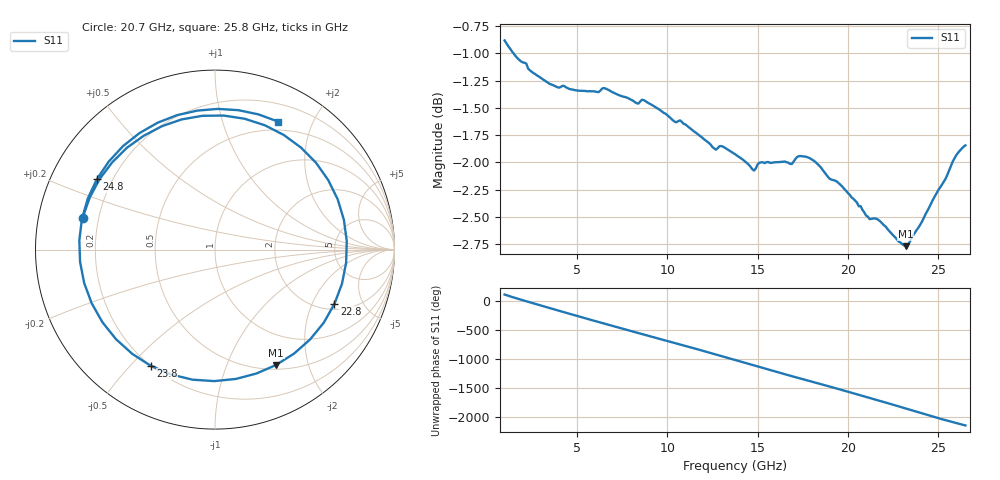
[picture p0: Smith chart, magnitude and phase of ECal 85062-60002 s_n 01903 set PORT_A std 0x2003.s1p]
!Created with skrf (http://scikit-rf.org).
# Hz S RI R 50.0
!freq ReS11 ImS11
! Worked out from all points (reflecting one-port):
!   256 points, 1 GHz to 26.5 GHz, reference 50 ohm
!   lowest |S11| = -2.8 dB at 23.2 GHz (marker M1), VSWR 6.33, Z = 27.7 - j75.7 ohm
!   phase of S11 starts at 107 deg and turns -2261 deg over the sweep
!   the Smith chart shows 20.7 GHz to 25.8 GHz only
!   S11 on the Smith chart (normalised r, x): 20.7 GHz: 0.14, +0.12; 22.8 GHz: 2.28, -2.97; 23.8 GHz: 0.20, -0.57; 24.8 GHz: 0.14, +0.27; 25.8 GHz: 0.40, +1.53
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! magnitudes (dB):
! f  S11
! 1 GHz  -0.9
! 2.4 GHz  -1.2
! 4.2 GHz  -1.3
! 6.2 GHz  -1.4
! 6.5 GHz  -1.3
! 7.4 GHz  -1.4
! 8.4 GHz  -1.5
! 8.7 GHz  -1.4
! 10.6 GHz  -1.6
! 12.7 GHz  -1.9
! 13 GHz  -1.9
! 13.8 GHz  -1.9
! 14.8 GHz  -2.1
! 15.1 GHz  -2.0
! 17 GHz  -2.0
! 17.3 GHz  -1.9
! 18.1 GHz  -2.0
! 20.2 GHz  -2.3
! 20.7 GHz  -2.4
! 21.2 GHz  -2.5
! 21.7 GHz  -2.5
! 22.8 GHz  -2.7
! 23.2 GHz  -2.8
! 23.4 GHz  -2.7
! 23.8 GHz  -2.6
! 24.8 GHz  -2.3
! 25.8 GHz  -2.0
! 26.5 GHz  -1.8
